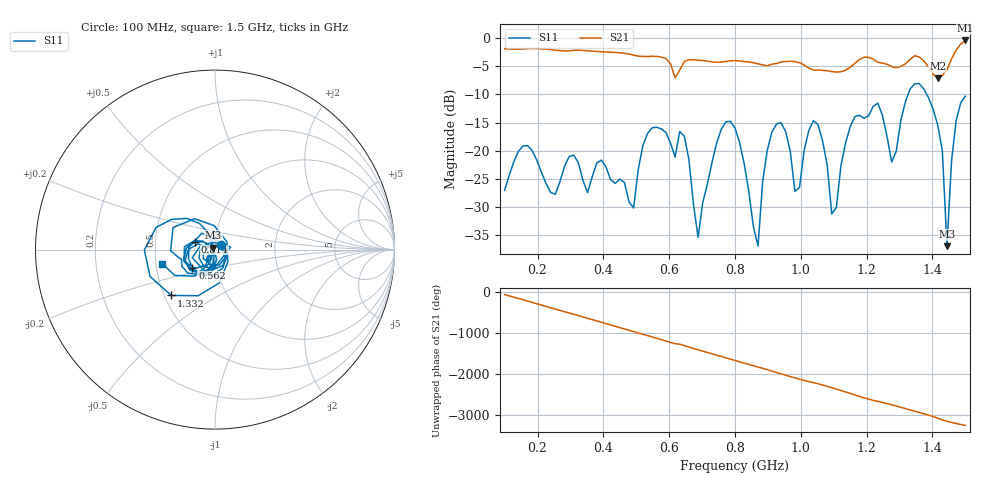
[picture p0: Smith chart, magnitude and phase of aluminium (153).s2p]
! NanoVNA-App
! Date: 2025-09-25 14:56:28
! Start: 100MHz Stop: 1,5GHz Points: 101
! S-Parameter data: F S11 S21 S12 S22
# Hz S RI R 50
!  Frequency  S11_Real  S11_Imag  S21_Real  S21_Imag  S12_Real  S12_Imag  S22_Real  S22_Imag
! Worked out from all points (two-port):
!   101 points, 100 MHz to 1.5 GHz, reference 50 ohm
!   highest |S21| = -0.46 dB at 1.5 GHz (marker M1); lowest = -7.2 dB at 1.416 GHz (marker M2)
!   |S21| within 3 dB of the highest: start of sweep to 579.3 MHz; 1.46 GHz to end of sweep (the widest 2 of 4)
!   lowest |S11| = -36.9 dB at 1.444 GHz (marker M3), VSWR 1.03, Z = 49.1 + j1.12 ohm
!   |S11| at or under -10 dB: start of sweep to 1.326 GHz; 1.382 GHz to end of sweep
!   S12 and S22 are empty: the file has one direction only
!   S11 on the Smith chart (normalised r, x): 100 MHz: 1.07, +0.06; 562 MHz: 0.76, -0.16; 814 MHz: 0.80, +0.07; 1.332 GHz: 0.54, -0.32; 1.5 GHz: 0.54, -0.09
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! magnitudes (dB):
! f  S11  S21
! 100 MHz  -27.0  -1.9
! 156 MHz  -19.1  -2.0
! 338 MHz  -25.2  -2.2
! 492 MHz  -30.1  -3.1
! 562 MHz  -15.8  -3.3
! 576 MHz  -16.1  -3.4
! 646 MHz  -17.4  -4.2
! 688 MHz  -35.4  -4.0
! 800 MHz  -16.0  -4.0
! 814 MHz  -18.5  -4.1
! 870 MHz  -36.9  -4.6
! 912 MHz  -16.7  -4.7
! 982 MHz  -27.2  -4.2
! 1.038 GHz  -14.6  -5.7
! 1.094 GHz  -31.2  -6.0
! 1.164 GHz  -14.0  -4.5
! 1.276 GHz  -22.0  -5.1
! 1.332 GHz  -9.1  -3.8
! 1.416 GHz  -15.5  -7.2
! 1.444 GHz  -36.9  -5.6
! 1.472 GHz  -14.6  -2.1
! 1.5 GHz  -10.3  -0.5
